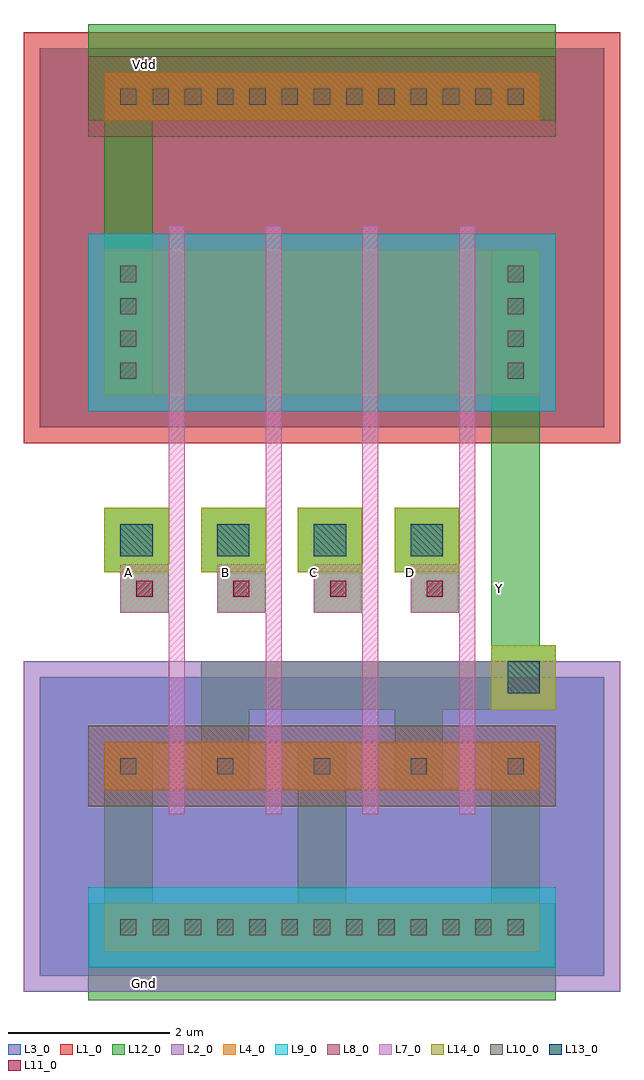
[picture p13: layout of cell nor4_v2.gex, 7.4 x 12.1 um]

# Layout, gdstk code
import gdstk
lib = gdstk.Library(unit=1e-6, precision=1e-09)
def R(c, l, rs):  # rectangles x0, y0, x1, y1
    for r in rs: c.add(gdstk.rectangle(r[:2], r[2:], *l))
def A(c, l, x, y, w, h, nx, ny, dx, dy):  # array of equal rectangles
    R(c, l, [(x+i*dx, y+j*dy, x+i*dx+w, y+j*dy+h) for i in range(nx) for j in range(ny)])
L1_0 = (1, 0)
L2_0 = (2, 0)
L3_0 = (3, 0)
L4_0 = (4, 0)
L7_0 = (7, 0)
L8_0 = (8, 0)
L9_0 = (9, 0)
L10_0 = (10, 0)
L11_0 = (11, 0)
L12_0 = (12, 0)
L13_0 = (13, 0)
L14_0 = (14, 0)

nor4_v2_gex = lib.new_cell('nor4_v2.gex')
R(nor4_v2_gex, L1_0, [(-0.8,6.9,6.6,12)])
R(nor4_v2_gex, L2_0, [(-0.8,0.1,6.6,4.2)])
R(nor4_v2_gex, L3_0, [(-0.6,0.3,6.4,4), (-0.6,7.1,6.4,11.8)])
R(nor4_v2_gex, L4_0, [(0.2,0.6,5.6,1.2), (0.2,2.6,5.6,3.2), (0.2,7.5,5.6,9.3), (0.2,10.9,5.6,11.5)])
A(nor4_v2_gex, L7_0, 1, 2.3, 0.2, 7.3, 4, 1, 1.2, 0)
A(nor4_v2_gex, L7_0, 0.4, 4.8, 0.6, 0.6, 4, 1, 1.2, 0)
R(nor4_v2_gex, L8_0, [(0,2.4,5.8,3.4), (0,10.7,5.8,11.7)])
R(nor4_v2_gex, L9_0, [(0,0.4,5.8,1.4), (0,7.3,5.8,9.5)])
A(nor4_v2_gex, L10_0, 0.4, 0.8, 0.2, 0.2, 13, 2, 0.4, 10.3)
A(nor4_v2_gex, L10_0, 0.4, 2.8, 0.2, 0.2, 5, 1, 1.2, 0)
A(nor4_v2_gex, L10_0, 0.4, 7.7, 0.2, 0.2, 1, 4, 0, 0.4)
A(nor4_v2_gex, L10_0, 5.2, 7.7, 0.2, 0.2, 1, 4, 0, 0.4)
A(nor4_v2_gex, L11_0, 0.6, 5, 0.2, 0.2, 4, 1, 1.2, 0)
A(nor4_v2_gex, L12_0, 0.2, 1.2, 0.6, 2, 3, 1, 2.4, 0)
A(nor4_v2_gex, L12_0, 0.4, 4.8, 0.6, 0.6, 4, 1, 1.2, 0)
A(nor4_v2_gex, L12_0, 0.2, 5.3, 0.8, 0.8, 4, 1, 1.2, 0)
R(nor4_v2_gex, L12_0, [(0,0,5.8,1.2), (1.4,2.6,2,3.6), (3.8,2.6,4.4,3.6), (1.4,3.6,5,4.2), (5,3.6,5.8,4.4), (5,3.6,5.6,9.3), (0.2,7.5,0.8,10.9), (0,10.9,5.8,12.1)])
A(nor4_v2_gex, L13_0, 0.4, 5.5, 0.4, 0.4, 4, 1, 1.2, 0)
R(nor4_v2_gex, L13_0, [(5.2,3.8,5.6,4.2)])
A(nor4_v2_gex, L14_0, 0.2, 5.3, 0.8, 0.8, 4, 1, 1.2, 0)
R(nor4_v2_gex, L14_0, [(5,3.6,5.8,4.4)])
nor4_v2_gex.add(gdstk.Label('Vdd', (0.7,11.6), layer=12, texttype=0))
nor4_v2_gex.add(gdstk.Label('C', (2.8,5.3), layer=12, texttype=0))
nor4_v2_gex.add(gdstk.Label('B', (1.7,5.3), layer=12, texttype=0))
nor4_v2_gex.add(gdstk.Label('Gnd', (0.7,0.2), layer=12, texttype=0))
nor4_v2_gex.add(gdstk.Label('A', (0.5,5.3), layer=12, texttype=0))
nor4_v2_gex.add(gdstk.Label('Y', (5.1,5.1), layer=12, texttype=0))
nor4_v2_gex.add(gdstk.Label('D', (4,5.3), layer=12, texttype=0))

lib.write_gds('nor4_v2.gex.gds')
